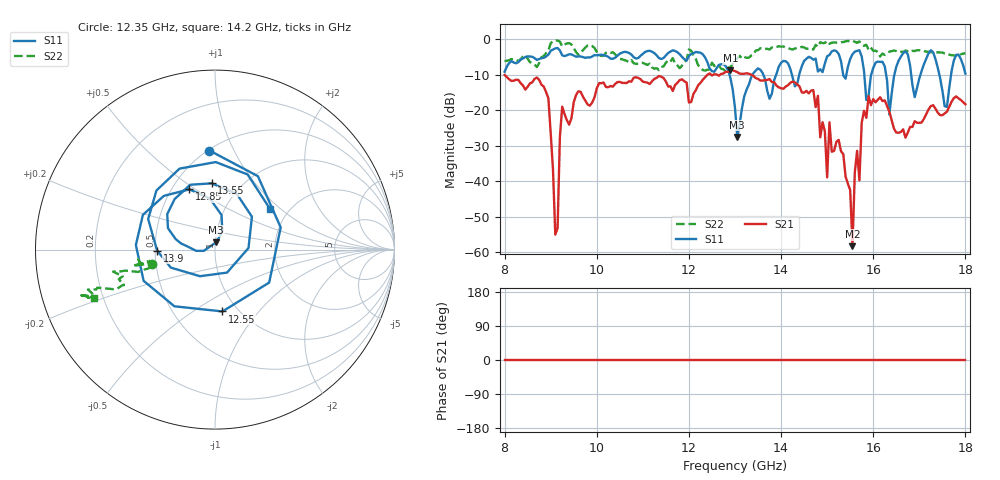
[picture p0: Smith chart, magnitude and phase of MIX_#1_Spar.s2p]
#  HZ  S  DB  R  50.00
! Rohde & Schwarz ZVA67 4Ports - Version 4.11 - 1305.7002k04 SN: 101038
! Date: 2024-04-07 23:18:36
! Measurements: S11 S21 S12 S22
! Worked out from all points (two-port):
!   201 points, 8 GHz to 18 GHz, reference 50 ohm
!   highest |S21| = -8.76 dB at 12.9 GHz (marker M1); lowest = -58.2 dB at 15.55 GHz (marker M2)
!   |S21| within 3 dB of the highest: 11.21 GHz to 11.49 GHz (282.8 MHz wide, 2.49 % of centre); 12.28 GHz to 13.78 GHz (1.497 GHz wide, 11.5 % of centre)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
!   lowest |S11| = -27.5 dB at 13.05 GHz (marker M3), VSWR 1.09, Z = 50.6 + j4.2 ohm
!   |S11| at or under -10 dB: 12.88 GHz to 13.38 GHz (504.2 MHz wide, 3.84 % of centre); 13.61 GHz to 13.9 GHz (281.5 MHz wide, 2.05 % of centre); 17.43 GHz to 17.69 GHz (254.9 MHz wide, 1.45 % of centre)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
!   |S22| runs from -9.2 to -0.4 dB; largest |S21 - S12| = 0.36
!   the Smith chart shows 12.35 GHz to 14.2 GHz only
!   S11 on the Smith chart (normalised r, x): 12.35 GHz: 0.51, +0.81; 12.55 GHz: 0.85, -0.66; 12.85 GHz: 0.61, +0.47; 13.55 GHz: 0.74, +0.63; 13.9 GHz: 0.51, -0.01; 14.2 GHz: 1.61, +0.85
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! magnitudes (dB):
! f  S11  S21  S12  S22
! 8 GHz  -9.2  -10.1  -  -6.2
! 8.95 GHz  -4.4  -16.7  -  -3.2
! 9.1 GHz  -2.6  -55.0  -  -0.4
! 9.25 GHz  -4.6  -19.0  -  -2.1
! 9.7 GHz  -5.1  -16.2  -  -3.1
! 11.35 GHz  -5.4  -10.4  -  -8.7
! 12.35 GHz  -5.1  -10.8  -  -8.9
! 12.55 GHz  -9.2  -9.9  -  -7.6
! 12.85 GHz  -8.8  -9.2  -  -8.1
! 12.9 GHz  -10.9  -8.8  -  -7.9
! 13 GHz  -19.3  -9.0  -  -5.8
! 13.05 GHz  -27.5  -9.3  -  -5.4
! 13.55 GHz  -8.6  -11.7  -  -2.6
! 13.9 GHz  -9.8  -13.1  -  -2.3
! 14.2 GHz  -8.4  -12.3  -  -2.8
! 14.7 GHz  -5.8  -14.4  -  -3.0
! 15 GHz  -4.8  -38.9  -  -0.6
! 15.35 GHz  -10.2  -32.3  -  -0.9
! 15.55 GHz  -4.3  -58.2  -  -0.5
! 15.8 GHz  -9.0  -20.1  -  -1.9
! 16.35 GHz  -21.3  -20.4  -  -3.6
! 18 GHz  -9.7  -18.3  -  -4.0
